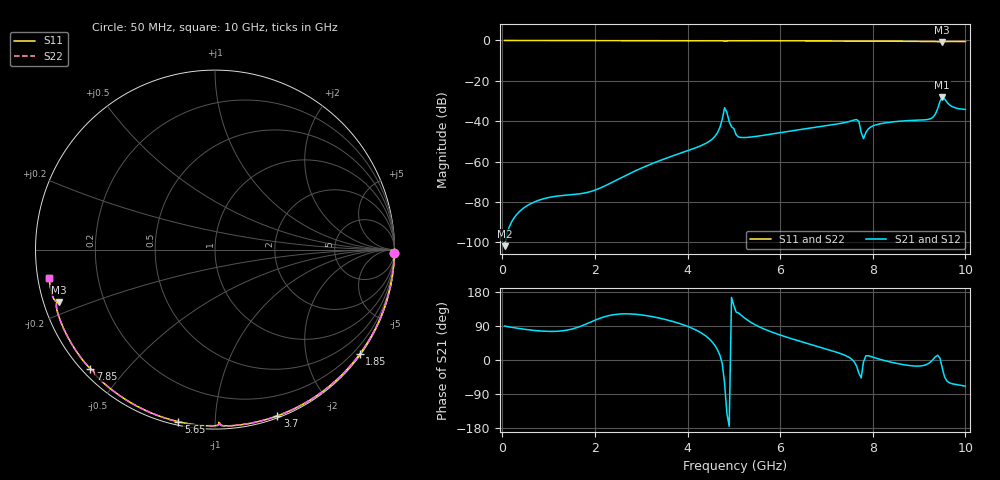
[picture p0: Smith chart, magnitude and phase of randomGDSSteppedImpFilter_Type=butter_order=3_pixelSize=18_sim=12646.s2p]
! freq	dB(S11)	phase(S11)	dB(S12)	phase(S12)
!  dB(S21)	phase(S21)	dB(S22)	phase(S22)
!S-par simulation data
#  GHz  S  DB  R 50
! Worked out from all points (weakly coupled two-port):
!   200 points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, 50 MHz to 10 GHz, reference 50 ohm
!   highest |S21| = -27.95 dB at 9.5 GHz (marker M1); lowest = -101.9 dB at 50 MHz (marker M2)
!   lowest |S11| = -0.7 dB at 9.5 GHz (marker M3), VSWR 23.68, Z = 2.17 - j8.12 ohm
!   |S11| at or under -10 dB: nowhere
!   |S22| runs from -0.7 to 0.0 dB; largest |S21 - S12| = 0
!   S11 on the Smith chart (normalised r, x): 50 MHz: open; 1.85 GHz: 0.03, -3.10; 3.7 GHz: 0.02, -1.44; 5.65 GHz: 0.02, -0.81; 7.85 GHz: 0.02, -0.40; 10 GHz: 0.03, -0.09
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0.05  -0.00 -1.0  -101.90 89.6  -101.90 89.6  -0.00 -1.0
1.75  -0.04 -33.9  -75.69 91.9  -75.69 91.9  -0.04 -33.9
1.85  -0.05 -35.8  -75.20 97.0  -75.20 97.0  -0.05 -35.8
3.4  -0.08 -64.2  -59.52 110.4  -59.52 110.4  -0.08 -64.2
3.7  -0.09 -69.4  -57.01 101.0  -57.01 101.0  -0.09 -69.5
4.55  -0.12 -84.2  -48.52 45.0  -48.52 45.0  -0.12 -84.2
4.7  -0.14 -86.9  -43.03 12.2  -43.03 12.2  -0.14 -87.0
4.8  -0.33 -88.8  -33.33 -61.0  -33.33 -61.0  -0.33 -88.8
5.05  -0.16 -92.0  -46.76 126.2  -46.76 126.2  -0.16 -92.1
5.65  -0.17 -102.0  -46.94 81.9  -46.94 81.9  -0.17 -102.0
6.7  -0.23 -118.7  -43.22 39.6  -43.22 39.6  -0.23 -118.7
7.65  -0.32 -133.7  -39.17 -15.8  -39.17 -15.8  -0.32 -133.8
7.7  -0.36 -134.5  -40.14 -34.8  -40.14 -34.8  -0.36 -134.6
7.8  -0.36 -135.6  -48.66 -4.6  -48.66 -4.6  -0.36 -135.6
7.85  -0.35 -136.3  -45.63 10.9  -45.63 10.9  -0.35 -136.4
8  -0.35 -138.7  -42.35 7.6  -42.35 7.6  -0.35 -138.8
8.35  -0.38 -144.2  -40.56 -4.4  -40.56 -4.4  -0.38 -144.3
9.25  -0.50 -158.7  -38.75 -5.0  -38.75 -5.0  -0.50 -158.8
9.35  -0.56 -160.4  -36.56 8.3  -36.56 8.3  -0.56 -160.5
9.5  -0.73 -161.5  -27.95 -20.9  -27.95 -20.9  -0.73 -161.6
9.7  -0.52 -165.0  -32.57 -62.2  -32.57 -62.2  -0.52 -165.1
10  -0.55 -170.2  -34.16 -68.9  -34.16 -68.9  -0.55 -170.4
